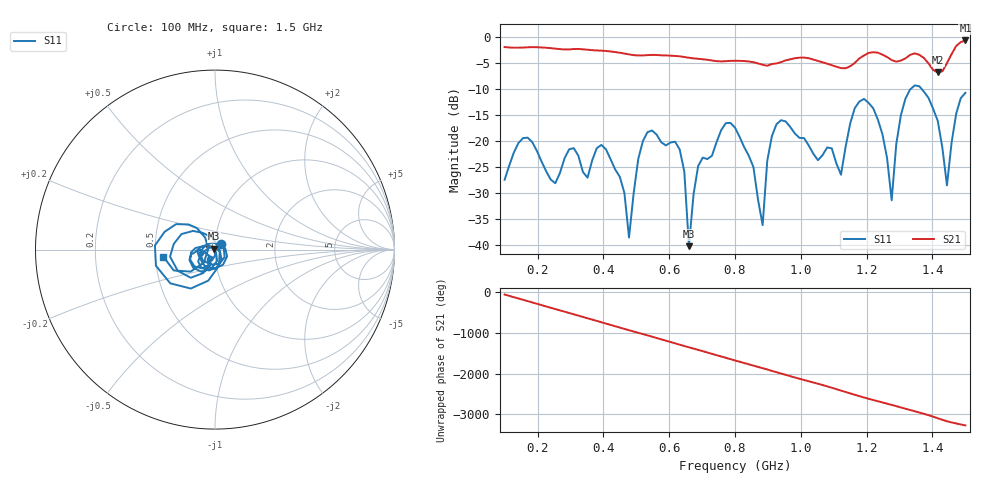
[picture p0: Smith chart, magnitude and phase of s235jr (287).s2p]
! NanoVNA-App
! Date: 2025-09-25 15:06:24
! Start: 100MHz Stop: 1,5GHz Points: 101
! S-Parameter data: F S11 S21 S12 S22
# Hz S RI R 50
!  Frequency  S11_Real  S11_Imag  S21_Real  S21_Imag  S12_Real  S12_Imag  S22_Real  S22_Imag
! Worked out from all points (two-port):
!   101 points, 100 MHz to 1.5 GHz, reference 50 ohm
!   highest |S21| = -0.69 dB at 1.5 GHz (marker M1); lowest = -6.8 dB at 1.416 GHz (marker M2)
!   |S21| within 3 dB of the highest: start of sweep to 622.8 MHz; 1.189 GHz to 1.256 GHz (67.4 MHz wide, 5.51 % of centre) (the widest 2 of 4)
!   lowest |S11| = -40.2 dB at 660 MHz (marker M3), VSWR 1.02, Z = 49.2 + j0.528 ohm
!   |S11| at or under -10 dB: start of sweep to 1.334 GHz; 1.367 GHz to end of sweep
!   S12 and S22 are empty: the file has one direction only
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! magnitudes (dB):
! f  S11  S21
! 100 MHz  -27.5  -2.0
! 156 MHz  -19.5  -2.1
! 338 MHz  -26.0  -2.4
! 408 MHz  -21.6  -2.7
! 478 MHz  -38.6  -3.4
! 520 MHz  -20.1  -3.6
! 576 MHz  -20.3  -3.5
! 632 MHz  -21.7  -3.7
! 660 MHz  -40.2  -4.0
! 688 MHz  -24.8  -4.2
! 800 MHz  -17.4  -4.6
! 884 MHz  -36.2  -5.4
! 926 MHz  -16.8  -5.1
! 1.038 GHz  -22.5  -4.4
! 1.122 GHz  -26.5  -6.0
! 1.192 GHz  -11.9  -3.6
! 1.248 GHz  -18.7  -3.4
! 1.276 GHz  -31.4  -4.5
! 1.332 GHz  -10.1  -3.5
! 1.416 GHz  -16.1  -6.8
! 1.444 GHz  -28.5  -5.0
! 1.5 GHz  -10.8  -0.7
